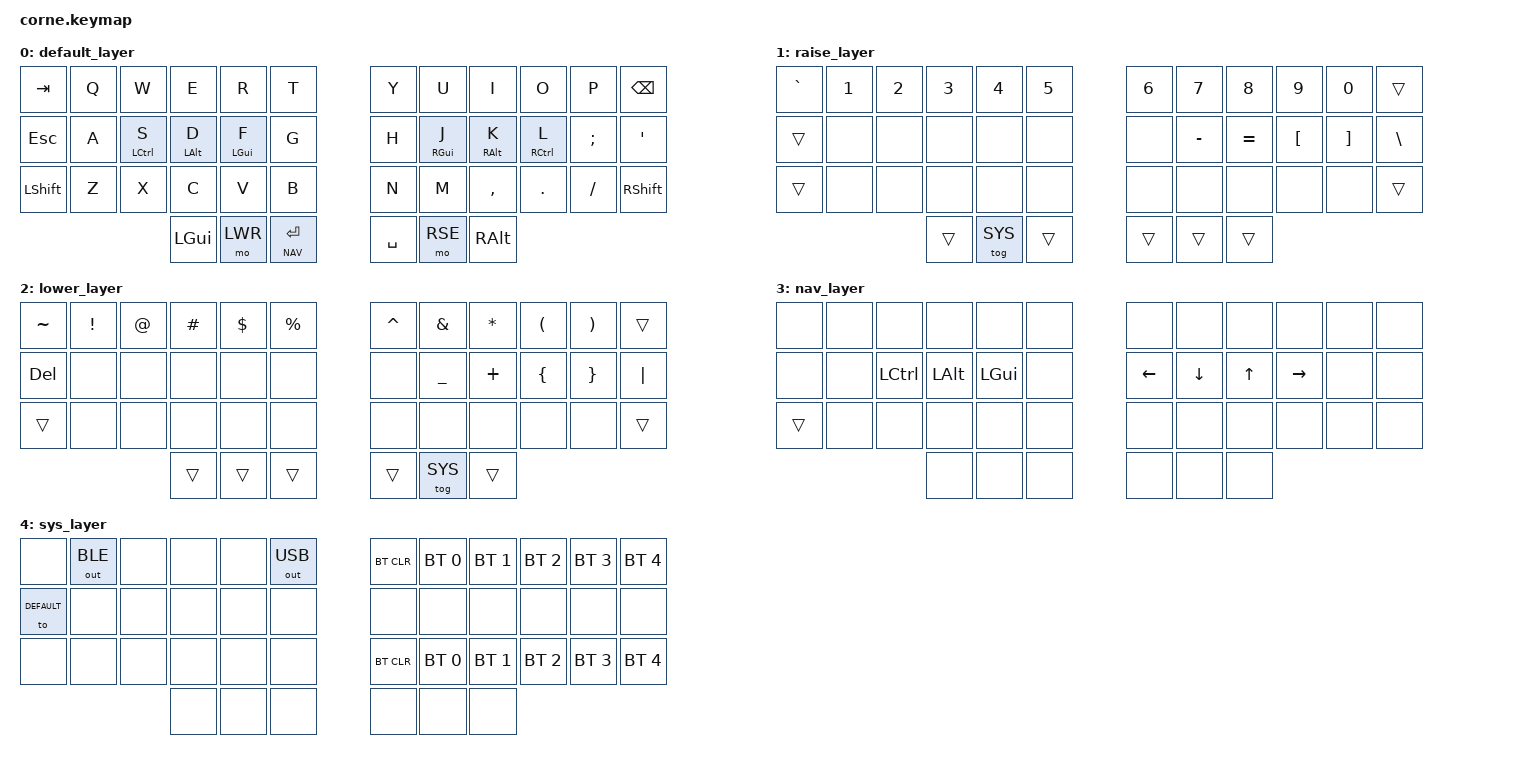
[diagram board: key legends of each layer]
/*
 * Copyright (c) 2020 The ZMK Contributors
 *
 * SPDX-License-Identifier: MIT
 */

#include <behaviors.dtsi>
#include <dt-bindings/zmk/keys.h>
#include <dt-bindings/zmk/bt.h>
#include <dt-bindings/zmk/outputs.h>

#define DEFAULT 0
#define RSE     1
#define LWR     2
#define NAV     3
#define SYS     4

/ {

   behaviors {        
      hm: homerow_mods {            
         compatible = "zmk,behavior-hold-tap";            
         label = "HOMEROW_MODS";            
         #binding-cells = <2>;            
         tapping-term-ms = <200>;            
         quick_tap_ms = <0>;            
         flavor = "tap-preferred";            
         bindings = <&kp>, <&kp>;        
      };    
   }; 

   keymap {
      compatible = "zmk,keymap";

      default_layer {
         bindings = <
&kp TAB     &kp Q    &kp W          &kp E          &kp R          &kp T                   &kp Y    &kp U          &kp I          &kp O          &kp P       &kp BKSP 
&kp ESC     &kp A    &hm LCTRL S    &hm LALT D     &hm LGUI F     &kp G                   &kp H    &hm RGUI J     &hm RALT K     &hm RCTRL L    &kp SEMI    &kp SQT  
&kp LSHFT    &kp Z    &kp X          &kp C          &kp V          &kp B                   &kp N    &kp M          &kp COMMA      &kp DOT        &kp FSLH    &kp RSHFT   
               &kp LGUI    &mo LWR        &lt NAV RET       &kp SPACE         &mo RSE     &kp RALT                      
         >;
      };

      raise_layer {
         bindings = <
&kp GRAVE      &kp N1      &kp N2      &kp N3      &kp N4      &kp N5                     &kp N6      &kp N7         &kp N8      &kp N9      &kp N0      &trans   
&trans         &none       &none       &none       &none       &none                      &none       &kp MINUS      &kp EQUAL   &kp LBKT    &kp RBKT    &kp BSLH 
&trans         &none       &none       &none       &none       &none                      &none       &none          &none       &none       &none       &trans   
            &trans      &tog SYS       &trans         &trans         &trans      &trans             
         >;           
      };

      lower_layer {
         bindings = <
&kp TILDE   &kp EXCL &kp AT   &kp HASH &kp DLLR    &kp PRCNT                     &kp CARET      &kp AMPS    &kp STAR    &kp LPAR    &kp RPAR    &trans   
&kp DEL     &none    &none    &none    &none    &none                   &none    &kp UNDER      &kp PLUS    &kp LBRC    &kp RBRC    &kp PIPE 
&trans      &none    &none    &none    &none    &none                   &none    &none    &none    &none    &none    &trans   
            &trans      &trans         &trans         &trans         &tog SYS    &trans                        
         >;
      };

      nav_layer {
         bindings = <
&none    &none    &none    &none    &none    &none                   &none    &none    &none    &none    &none    &none 
&none    &none    &kp LCTRL      &kp LALT    &kp LGUI    &none                   &kp LEFT    &kp DOWN    &kp UP      &kp RIGHT      &none    &none 
&trans      &none    &none    &none    &none    &none                   &none    &none    &none    &none    &none    &none 
            &none    &none       &none       &none       &none    &none                      
         >;
      };

      sys_layer {
         bindings = <
&none    &out OUT_BLE      &none    &none    &none    &out OUT_USB                     &bt BT_CLR     &bt BT_SEL 0      &bt BT_SEL 1      &bt BT_SEL 2      &bt BT_SEL 3      &bt BT_SEL 4   
&to DEFAULT    &none    &none    &none    &none    &none                   &none    &none    &none    &none    &none    &none 
&none    &none    &none    &none    &none    &none                   &bt BT_CLR     &bt BT_SEL 0      &bt BT_SEL 1      &bt BT_SEL 2      &bt BT_SEL 3      &bt BT_SEL 4   
                     &none    &none       &none       &none       &none    &none                      
         >;   
      };
   };
};
